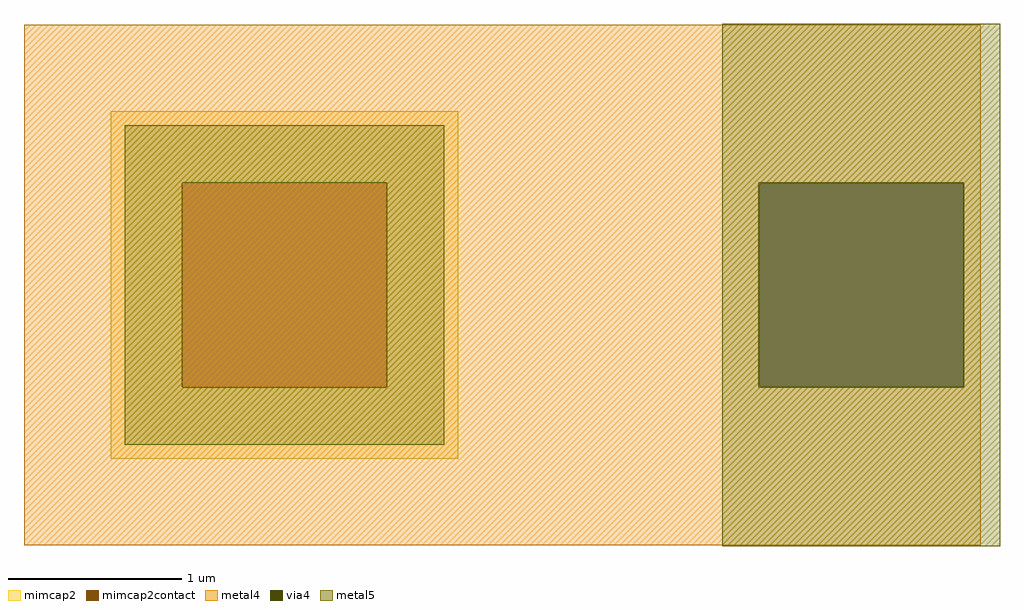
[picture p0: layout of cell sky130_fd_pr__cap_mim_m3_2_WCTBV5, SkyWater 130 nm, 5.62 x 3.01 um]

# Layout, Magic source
magic
tech sky130A
magscale 1 2
<< metal4 >>
rect -551 118 551 300
rect -551 -118 295 118
rect 531 -118 551 118
rect -551 -300 551 -118
<< via4 >>
rect 295 -118 531 118
<< mimcap2 >>
rect -451 118 -51 200
rect -451 -118 -369 118
rect -133 -118 -51 118
rect -451 -200 -51 -118
<< mimcap2contact >>
rect -369 -118 -133 118
<< metal5 >>
rect -435 118 -67 184
rect -435 -118 -369 118
rect -133 -118 -67 118
rect -435 -184 -67 -118
rect 253 118 573 301
rect 253 -118 295 118
rect 531 -118 573 118
rect 253 -301 573 -118
<< properties >>
string FIXED_BBOX -551 -300 49 300
<< end >>
